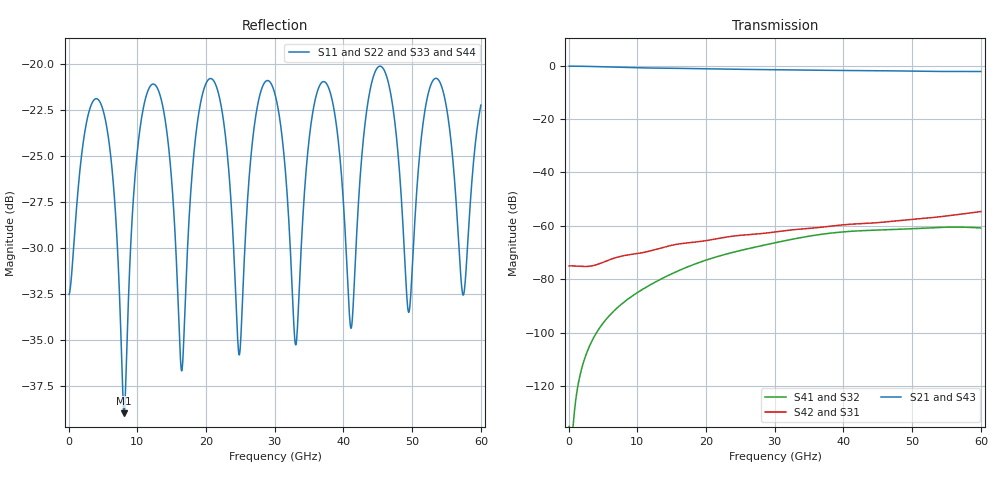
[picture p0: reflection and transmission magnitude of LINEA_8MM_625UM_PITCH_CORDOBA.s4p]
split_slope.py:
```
"""
Pair split from the linear growth of the victim's forward CPW field.
Sector modes on line A's coordinates: S+ = A + B' (pair-even), S- = A - B' (pair-odd),
B' = B mirrored onto A (same CPW pattern sign). With dbeta = beta_e - beta_o and
|dbeta| L << 1 (here k0 dn L ~ 1e-3 rad), B'_c = (A/2)(-j dbeta z) e^{-gamma z} + (launch term)
+ backward terms. Fit per Bloch channel (36 cell positions, 41 cells):
  B'_c(k) = a q^k + b k q^k + c q^-k + d k q^-k [+ artefact poles q e^{+-j kappa k}]
q = forward per-cell factor of A (pencil), A's forward amplitude from the same basis.
dn = Re(2j b / (A_fwd Lambda)) / k0. Robustness: windows, basis variants.
"""
import numpy as np
from sector_pencil import fd, channels, pencil, n_alpha, STEP, C0, LAM, DZ
import sys
s4p = {}
try:
    import os; sys.path.insert(0, os.path.abspath("../../../../.."))
    from mzm_interconnect import xtalk_s4p as X
    pr = X.load_pair("../LINEA_8MM_625UM_PITCH_CORDOBA.s4p", 8.0)
    for g in fd["f_GHz"]:
        i = np.argmin(abs(pr["f_Hz"] - g * 1e9)); s4p[g] = pr["even"]["table"][1][i] - pr["odd"]["table"][1][i]
except Exception as e:
    print("s4p not loaded", e)

def fit(Xc, q, kappa, extra, k):
    cols = [q ** k, k * q ** k, q ** -k, k * q ** -k]
    if extra:
        cols += [(q * np.exp(1j * kappa)) ** k, (q * np.exp(-1j * kappa)) ** k]
    Bm = np.array(cols).T
    coef, *_ = np.linalg.lstsq(Bm, Xc.T, rcond=None)
    res = np.linalg.norm(Bm @ coef - Xc.T) / np.linalg.norm(Xc)
    return coef, res

if __name__ == "__main__":
    print(" f   | n_A(fwd)  | dn from slope: full, 1st 2/3, last 2/3, no-artefact-poles | resid B | dn s4p eq.line | |launch|/|growth over L|")
    for f in fd["f_GHz"]:
        F = fd["ports"][f][1]
        Ac = (F["A"][0] - F["A"][1]) / 2
        Bp = (-F["B"][1], -F["B"][0]); Bc = (Bp[0] - Bp[1]) / 2
        k0 = 2 * np.pi * f * 1e9 / C0
        out = []
        for (z0, nc) in ((0.31, 41), (0.31, 27), (2.83, 27)):
            XA = channels(Ac, z0, nc); XB = channels(Bc, z0, nc); k = np.arange(nc)
            q, Am, _ = pencil(XA / np.abs(XA).max(), 4)
            n, a = n_alpha(q, f)
            qf = q[np.argmax(np.where(n > 0, np.abs(Am).mean(axis=1), 0))]
            # artefact kappa: pole nearest qf * e^{j 1.16}
            kap = 1.16
            for extra in ((True, False) if (z0, nc) == (0.31, 41) else (True,)):
                cA, _ = fit(XA, qf, kap, extra, k)
                cB, rB = fit(XB, qf, kap, extra, k)
                Af = cA[0]; b = cB[1]
                dbeta = 2j * np.sum(b * np.conj(Af)) / np.sum(abs(Af) ** 2) / (LAM * 1e-3)
                launch = np.sqrt(np.mean(abs(cB[0]) ** 2)); grow = np.sqrt(np.mean(abs(cB[1]) ** 2)) * nc
                out.append((dbeta.real / k0, rB, launch / grow))
            if (z0, nc) == (0.31, 41):
                nA = n_alpha(np.array([qf]), f)[0][0]
        dns = [o[0] for o in out]
        print(f"{f:4.0f} | {nA:.4f}   | " + " ".join(f"{d:+.5f}" for d in [dns[0], dns[2], dns[3], dns[1]])
              + f" | {out[0][1]:.2f}    | {s4p.get(f, np.nan):+.5f}       | {out[0][2]:.2f}")
```
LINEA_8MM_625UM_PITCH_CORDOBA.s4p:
! TOUCHSTONE file generated by CST MICROWAVE STUDIO
! Date and time: Wed Oct 28 09:14:27 2026
! Project name: LINEA_8MM_625UM_PITCH_CORDOBA.cst
! Parameters = {CHANNEL_PITCH=0.625; GAP=0.00415; L=8; L1=0.02; L2=0.086; L3=0.066; NCELL=1; PITCH=0.18; START_POSITION=0.13; W1=0.003; W2=0.004; W3=0.009; WG=0.04985; gap_oxr=0.00125; linbo3_thickness=0.0002; mtx=0.002; oxiDinE=0.0014; w=0.185; ws=0.035}
! Header version: 2024
! Port assignment regex: !\s*Touchstone port\s*([0-9]+)\s*=\s*(CST MWS port|CST DES external port|CST DES block port)\s*(.+)\s* \(\"(.*)\"\)(\s*mode\s*([0-9]+))?.*
! Touchstone port assignment:
! Touchstone port 1 = CST MWS port 1 ("")
! Touchstone port 2 = CST MWS port 2 ("")
! Touchstone port 3 = CST MWS port 3 ("")
! Touchstone port 4 = CST MWS port 4 ("")
# GHz S MA R 50
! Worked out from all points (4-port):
!   1000 points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, 60 MHz to 60 GHz, reference 50 ohm
!   strongest paths, dB at 60 MHz, 15.06 GHz, 30.06 GHz, 45.06 GHz, 60 GHz:
!     S21: -0.3, -1.0, -1.5, -1.9, -2.2
!     S43: -0.3, -1.0, -1.5, -1.9, -2.2
!     S42: -75.0, -67.3, -62.3, -58.8, -54.7
!     S31: -75.0, -67.3, -62.3, -58.8, -54.7
!     S41: -135.2, -77.9, -66.4, -61.6, -60.8
!     S32: -135.3, -77.9, -66.4, -61.6, -60.8
!   lowest |S11| = -39.0 dB at 8.04 GHz (marker M1), VSWR 1.02, Z = 48.9 - j0.272 ohm
!   |S11| at or under -10 dB: start of sweep to end of sweep
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0.06  0.02363 -5.6  0.9716 -1.3  0.0001772 -2.9  1.729e-07 173.7
      0.9716 -1.3  0.02363 -5.6  1.727e-07 173.7  0.0001773 -2.9
      0.0001772 -2.9  1.719e-07 173.7  0.02363 -5.6  0.9716 -1.3
      1.741e-07 173.7  0.0001773 -2.9  0.9716 -1.3  0.02363 -5.6
8.04  0.01123 -165.7  0.9195 -176.0  0.0002753 -36.9  3.704e-05 178.9
      0.9195 -176.0  0.0112 -165.6  3.703e-05 178.9  0.0002753 -36.9
      0.0002753 -36.9  3.704e-05 178.9  0.01123 -165.7  0.9195 -176.0
      3.703e-05 178.9  0.0002753 -36.9  0.9195 -176.0  0.0112 -165.6
60  0.07722 -125.7  0.7723 153.1  0.001843 144.6  0.0009075 63.1
    0.7723 153.1  0.07724 -125.9  0.0009075 63.1  0.001843 144.7
    0.001843 144.6  0.0009075 63.1  0.07723 -125.7  0.7723 153.1
    0.0009075 63.1  0.001843 144.7  0.7723 153.1  0.07723 -125.9
